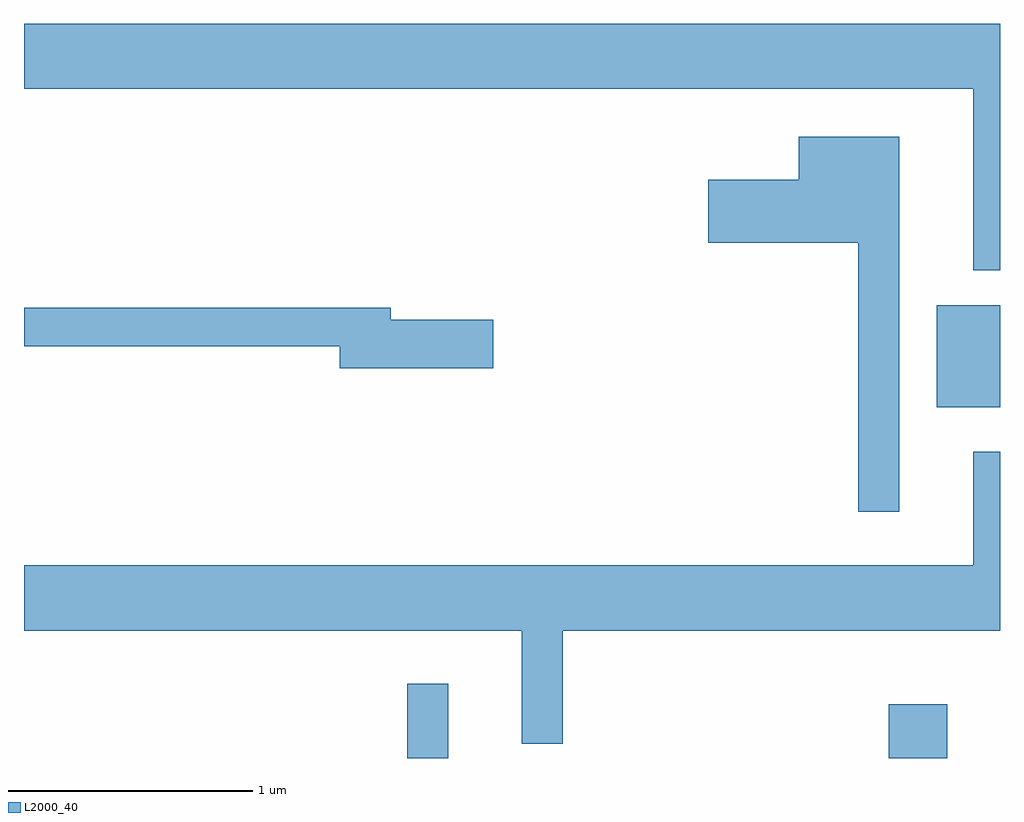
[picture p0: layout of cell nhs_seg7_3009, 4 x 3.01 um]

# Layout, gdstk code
import gdstk
lib = gdstk.Library(unit=1e-6, precision=1e-09)
def R(c, l, rs):  # rectangles x0, y0, x1, y1
    for r in rs: c.add(gdstk.rectangle(r[:2], r[2:], *l))
def P(c, l, *ps):  # polygons
    for p in ps: c.add(gdstk.Polygon(p, *l))
L2000_40 = (2000, 40)

nhs_seg7_3009 = lib.new_cell('nhs_seg7_3009')
R(nhs_seg7_3009, L2000_40, [(279.181,1698.252,279.349,1698.558), (281.156,1698.252,281.394,1698.474), (281.351,1699.691,281.611,1700.109)])
P(nhs_seg7_3009, L2000_40, [(281.611,1701.264),(277.611,1701.264),(277.611,1700.996),(281.501,1700.996),(281.501,1700.253),(281.611,1700.253)],
  [(281.199,1700.799),(280.786,1700.799),(280.786,1700.624),(280.416,1700.624),(280.416,1700.366),(281.031,1700.366),(281.031,1699.263),(281.199,1699.263)],
  [(279.534,1700.049),(279.114,1700.049),(279.114,1700.099),(277.611,1700.099),(277.611,1699.941),(278.906,1699.941),(278.906,1699.851),(279.534,1699.851)],
  [(279.819,1698.776),(281.611,1698.776),(281.611,1699.508),(281.501,1699.508),(281.501,1699.044),(277.611,1699.044),(277.611,1698.776),(279.651,1698.776),(279.651,1698.313),(279.819,1698.313)])

lib.write_gds('nhs_seg7_3009.gds')
